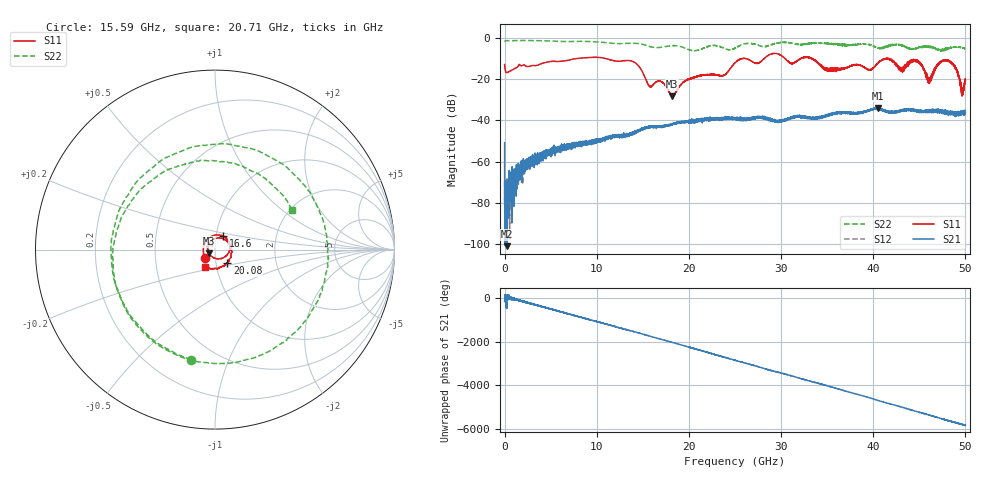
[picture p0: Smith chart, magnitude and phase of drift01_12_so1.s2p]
!Created with skrf (http://scikit-rf.org).
# Hz S RI R 50.0
!freq ReS11 ImS11 ReS21 ImS21 ReS12 ImS12 ReS22 ImS22
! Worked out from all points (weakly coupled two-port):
!   10001 points, 300 kHz to 50 GHz, reference 50 ohm
!   highest |S21| = -34.11 dB at 40.56 GHz (marker M1); lowest = -101.0 dB at 230.3 MHz (marker M2)
!   lowest |S11| = -28.3 dB at 18.16 GHz (marker M3), VSWR 1.08, Z = 46.9 - j2.01 ohm
!   |S11| at or under -10 dB: 10.87 GHz to 25.83 GHz (14.96 GHz wide, 81.5 % of centre); 33.27 GHz to 41.43 GHz (8.164 GHz wide, 21.9 % of centre); 41.43 GHz to end of sweep (the widest 3 of 17)
!   |S22| runs from -6.5 to -1.4 dB; largest |S21 - S12| = 0.0045
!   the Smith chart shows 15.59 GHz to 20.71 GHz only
!   S11 on the Smith chart (normalised r, x): 15.59 GHz: 0.89, -0.09; 16.6 GHz: 1.08, +0.16; 20.08 GHz: 1.13, -0.17; 20.71 GHz: 0.88, -0.18
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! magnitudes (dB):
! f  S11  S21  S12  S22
! 300 kHz  -13.1  -50.9  -69.7  -2.1
! 230.3 MHz  -16.9  -101.0  -75.4  -1.4
! 2.96 GHz  -13.5  -61.7  -59.7  -1.4
! 8.335 GHz  -9.9  -51.0  -51.2  -1.8
! 13.87 GHz  -11.5  -45.8  -46.4  -2.7
! 15.59 GHz  -22.8  -43.5  -43.3  -4.0
! 16.6 GHz  -21.2  -43.4  -43.2  -4.8
! 16.67 GHz  -21.0  -43.2  -43.4  -4.8
! 18.16 GHz  -28.3  -42.0  -42.2  -3.9
! 20.08 GHz  -20.0  -41.2  -40.0  -6.0
! 20.71 GHz  -18.9  -40.2  -40.3  -6.3
! 25 GHz  -12.2  -39.8  -39.9  -5.1
! 33.34 GHz  -10.1  -38.9  -38.8  -2.7
! 35.22 GHz  -15.6  -37.2  -37.7  -2.8
! 40.56 GHz  -12.1  -34.1  -34.3  -5.1
! 41.67 GHz  -10.4  -35.6  -36.1  -4.3
! 43.08 GHz  -14.7  -35.3  -35.5  -3.8
! 44.81 GHz  -11.3  -35.6  -35.3  -4.9
! 46.09 GHz  -22.2  -35.3  -35.4  -4.2
! 48.08 GHz  -11.2  -36.4  -36.9  -4.9
! 49.64 GHz  -24.7  -37.0  -36.1  -4.8
! 50 GHz  -20.4  -36.1  -36.3  -5.4
